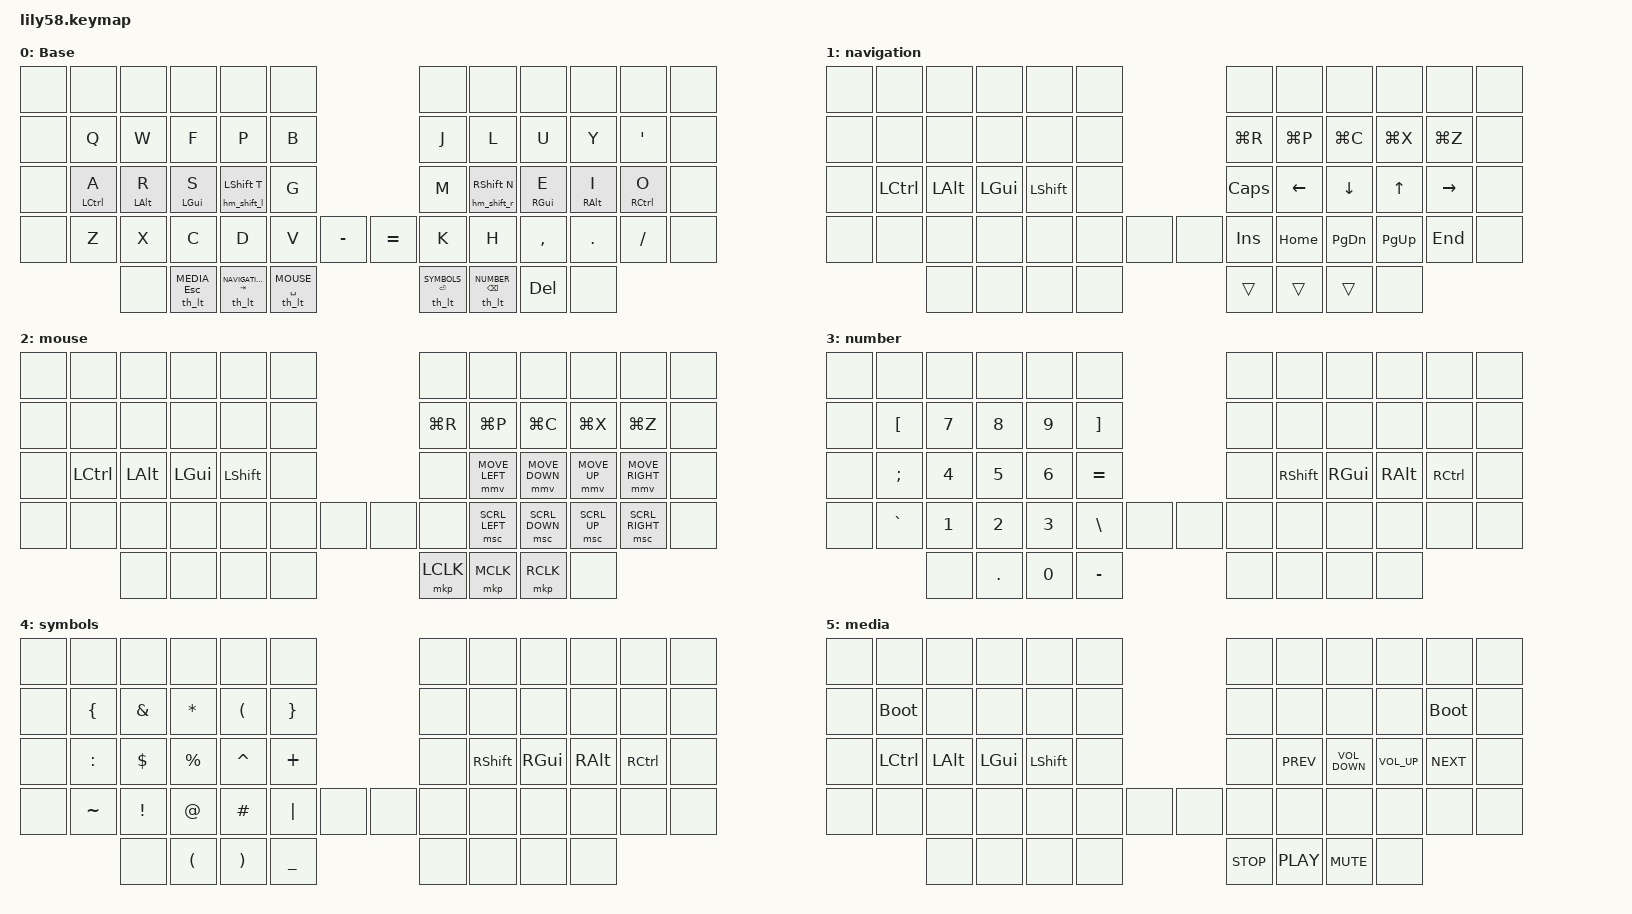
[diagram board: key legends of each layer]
/*
 * Copyright (c) 2020 The ZMK Contributors
 *
 * SPDX-License-Identifier: MIT
 */

#include <behaviors.dtsi>

#include <dt-bindings/zmk/keys.h>

#define ZMK_POINTING_DEFAULT_MOVE_VAL 2000
#define ZMK_POINTING_DEFAULT_SCRL_VAL 60

#include <dt-bindings/zmk/mouse.h>
#include <dt-bindings/zmk/pointing.h>

#include "zmk-helpers/helper.h"
#include "zmk-helpers/key-labels/lily58.h"

/*                                      58 KEY MATRIX / LAYOUT MAPPING
  ╭────────────────────────────┬────────────────────────────╮ ╭─────────────────────────────┬─────────────────────────────╮
  │  0   1   2   3   4   5     │      6   7   8   9  10  11 │ │ LT5 LT4 LT3 LT2 LT1 LT0     │     RT0 RT1 RT2 RT3 RT4 RT5 │
  │ 12  13  14  15  16  17     │     18  19  20  21  22  23 │ │ LM5 LM4 LM3 LM2 LM1 LM0     │     RM0 RM1 RM2 RM3 RM4 RM5 │
  │ 24  25  26  27  28  29     │     30  31  32  33  34  35 │ │ LB5 LB4 LB3 LB2 LB1 LB0     │     RB0 RB1 RB2 RB3 RB4 RB5 │
  │ 36  37  38  39  40  41  42 │ 43  44  45  46  47  48  49 │ │ LF5 LF4 LF3 LF2 LF1 LF0 LEC │ REC RF0 RF1 RF2 RF3 RF4 RF5 │
  ╰───────────╮ 50  51  52  53 │ 54  55  56  57 ╭───────────╯ ╰───────────╮ LH3 LH2 LH1 LH0 │ RH0 RH1 RH2 RH3 ╭───────────╯
              ╰────────────────┴────────────────╯                         ╰─────────────────┴─────────────────╯             */

#define KEYS_L LT0 LT1 LT2 LT3 LT4 LT5 LM0 LM1 LM2 LM3 LM4 LM5 LB0 LB1 LB2 LB3 LB4 LB5 LF0 LF1 LF2 LF3 LF4 LF5 LEC
#define KEYS_R RT0 RT1 RT2 RT3 RT4 RT5 RM0 RM1 RM2 RM3 RM4 RM5 RB0 RB1 RB2 RB3 RB4 RB5 RF0 RF1 RF2 RF3 RF4 RF5 REC
#define KEYS_T LH3 LH2 LH1 LH0 RH0 RH1 RH2 RH3

#define CAPS_COMBO_KEYS LB1 RB1

#define DEFAULT    0
#define NAVIGATION 1
#define MOUSE      2
#define NUMBER     3
#define SYMBOLS    4
#define MEDIA      5

#include "includes/settings.dtsi"
#include "includes/behaviours_mods.dtsi"
#include "includes/combos.dtsi"

/ {
    keymap {
        compatible = "zmk,keymap";

        base {
            display-name = "Base";
            bindings = <
// ╭────────────────────────┬────────────────────────┬────────────────────────┬────────────────────────┬────────────────────────┬────────────────────────╮                                                           ╭────────────────────────┬────────────────────────┬────────────────────────┬───────────────────────┬────────────────────────┬────────────────────────╮
     &none                    &none                    &none                    &none                    &none                    &none                                                                                &none                    &none                    &none                    &none                   &none                    &none
// │────────────────────────┼────────────────────────┼────────────────────────┼────────────────────────┼────────────────────────┼────────────────────────│                                                           │────────────────────────┼────────────────────────┼────────────────────────┼───────────────────────┼────────────────────────┼────────────────────────│
     &none                    &kp Q                    &kp W                    &kp F                    &kp P                    &kp B                                                                                &kp J                    &kp L                    &kp U                    &kp Y                   &kp SQT                  &none
// │────────────────────────┼────────────────────────┼────────────────────────┼────────────────────────┼────────────────────────┼────────────────────────│                                                           │────────────────────────┼────────────────────────┼────────────────────────┼───────────────────────┼────────────────────────┼────────────────────────│
     &none                    &hm_l LCTRL A            &hm_l LALT R             &hm_l LGUI S             &hm_shift_l LSHIFT T     &kp G                                                                                &kp M                    &hm_shift_r RSHIFT N     &hm_r RGUI E             &hm_r RALT I            &hm_r RCTRL O            &none
// │────────────────────────┼────────────────────────┼────────────────────────┼────────────────────────┼────────────────────────┼────────────────────────│────────────────────────╮         ╭────────────────────────│────────────────────────┼────────────────────────┼────────────────────────┼───────────────────────┼────────────────────────┼────────────────────────│
     &none                    &kp Z                    &kp X                    &kp C                    &kp D                    &kp V                    &kp MINUS                          &kp EQUAL                &kp K                    &kp H                    &kp COMMA                &kp DOT                 &kp FSLH                 &none
// ╰────────────────────────┴────────────────────────┼────────────────────────┼────────────────────────┼────────────────────────┼────────────────────────┤────────────────────────╯         ╰────────────────────────├────────────────────────┼────────────────────────┼────────────────────────┼───────────────────────┼────────────────────────┴────────────────────────╯
                                                       &none                    &th_lt MEDIA ESC         &th_lt NAVIGATION TAB    &th_lt MOUSE SPACE                                                                   &th_lt SYMBOLS RET       &th_lt NUMBER BSPC       &kp DEL                  &none
//                                                   ╰────────────────────────┴────────────────────────┴────────────────────────┴────────────────────────╯                                                           ╰────────────────────────┴────────────────────────┴────────────────────────┴───────────────────────╯
            >;
        };

        navigation {
            bindings = <
// ╭────────────────────────┬────────────────────────┬────────────────────────┬────────────────────────┬────────────────────────┬────────────────────────╮                                                           ╭────────────────────────┬────────────────────────┬────────────────────────┬───────────────────────┬────────────────────────┬────────────────────────╮
     &none                    &none                    &none                    &none                    &none                    &none                                                                                &none                    &none                    &none                    &none                   &none                    &none
// │────────────────────────┼────────────────────────┼────────────────────────┼────────────────────────┼────────────────────────┼────────────────────────│                                                           │────────────────────────┼────────────────────────┼────────────────────────┼───────────────────────┼────────────────────────┼────────────────────────│
     &none                    &none                    &none                    &none                    &none                    &none                                                                                &kp LG(R)                &kp LG(P)                &kp LG(C)                &kp LG(X)               &kp LG(Z)                &none
// │────────────────────────┼────────────────────────┼────────────────────────┼────────────────────────┼────────────────────────┼────────────────────────│                                                           │────────────────────────┼────────────────────────┼────────────────────────┼───────────────────────┼────────────────────────┼────────────────────────│
     &none                    &kp LCTRL                &kp LALT                 &kp LGUI                 &kp LSHIFT               &none                                                                                &kp CAPS                 &kp LEFT                 &kp DOWN                 &kp UP                  &kp RIGHT                &none
// │────────────────────────┼────────────────────────┼────────────────────────┼────────────────────────┼────────────────────────┼────────────────────────│────────────────────────╮         ╭────────────────────────│────────────────────────┼────────────────────────┼────────────────────────┼───────────────────────┼────────────────────────┼────────────────────────│
     &none                    &none                    &none                    &none                    &none                    &none                    &none                              &none                    &kp INS                  &kp HOME                 &kp PAGE_DOWN            &kp PAGE_UP             &kp END                  &none
// ╰────────────────────────┴────────────────────────┼────────────────────────┼────────────────────────┼────────────────────────┼────────────────────────┤────────────────────────╯         ╰────────────────────────├────────────────────────┼────────────────────────┼────────────────────────┼───────────────────────┼────────────────────────┴────────────────────────╯
                                                       &none                    &none                    &none                    &none                                                                                &trans                   &trans                   &trans                   &none
//                                                   ╰────────────────────────┴────────────────────────┴────────────────────────┴────────────────────────╯                                                           ╰────────────────────────┴────────────────────────┴────────────────────────┴───────────────────────╯
            >;
        };

        mouse {
            bindings = <
// ╭────────────────────────┬────────────────────────┬────────────────────────┬────────────────────────┬────────────────────────┬────────────────────────╮                                                           ╭────────────────────────┬────────────────────────┬────────────────────────┬───────────────────────┬────────────────────────┬────────────────────────╮
     &none                    &none                    &none                    &none                    &none                    &none                                                                                &none                    &none                    &none                    &none                   &none                    &none
// │────────────────────────┼────────────────────────┼────────────────────────┼────────────────────────┼────────────────────────┼────────────────────────│                                                           │────────────────────────┼────────────────────────┼────────────────────────┼───────────────────────┼────────────────────────┼────────────────────────│
     &none                    &none                    &none                    &none                    &none                    &none                                                                                &kp LG(R)                &kp LG(P)                &kp LG(C)                &kp LG(X)               &kp LG(Z)                &none
// │────────────────────────┼────────────────────────┼────────────────────────┼────────────────────────┼────────────────────────┼────────────────────────│                                                           │────────────────────────┼────────────────────────┼────────────────────────┼───────────────────────┼────────────────────────┼────────────────────────│
     &none                    &kp LCTRL                &kp LALT                 &kp LGUI                 &kp LSHIFT               &none                                                                                &none                    &mmv MOVE_LEFT           &mmv MOVE_DOWN           &mmv MOVE_UP            &mmv MOVE_RIGHT          &none
// │────────────────────────┼────────────────────────┼────────────────────────┼────────────────────────┼────────────────────────┼────────────────────────│────────────────────────╮         ╭────────────────────────│────────────────────────┼────────────────────────┼────────────────────────┼───────────────────────┼────────────────────────┼────────────────────────│
     &none                    &none                    &none                    &none                    &none                    &none                    &none                              &none                    &none                    &msc SCRL_LEFT           &msc SCRL_DOWN           &msc SCRL_UP            &msc SCRL_RIGHT          &none
// ╰────────────────────────┴────────────────────────┼────────────────────────┼────────────────────────┼────────────────────────┼────────────────────────┤────────────────────────╯         ╰────────────────────────├────────────────────────┼────────────────────────┼────────────────────────┼───────────────────────┼────────────────────────┴────────────────────────╯
                                                       &none                    &none                    &none                    &none                                                                                &mkp LCLK                &mkp MCLK                &mkp RCLK                &none
//                                                   ╰────────────────────────┴────────────────────────┴────────────────────────┴────────────────────────╯                                                           ╰────────────────────────┴────────────────────────┴────────────────────────┴───────────────────────╯
            >;
        };

        number {
            bindings = <
// ╭────────────────────────┬────────────────────────┬────────────────────────┬────────────────────────┬────────────────────────┬────────────────────────╮                                                           ╭────────────────────────┬────────────────────────┬────────────────────────┬───────────────────────┬────────────────────────┬────────────────────────╮
     &none                    &none                    &none                    &none                    &none                    &none                                                                                &none                    &none                    &none                    &none                   &none                    &none
// │────────────────────────┼────────────────────────┼────────────────────────┼────────────────────────┼────────────────────────┼────────────────────────│                                                           │────────────────────────┼────────────────────────┼────────────────────────┼───────────────────────┼────────────────────────┼────────────────────────│
     &none                    &kp LBKT                 &kp N7                   &kp N8                   &kp N9                   &kp RBKT                                                                             &none                    &none                    &none                    &none                   &none                    &none
// │────────────────────────┼────────────────────────┼────────────────────────┼────────────────────────┼────────────────────────┼────────────────────────│                                                           │────────────────────────┼────────────────────────┼────────────────────────┼───────────────────────┼────────────────────────┼────────────────────────│
     &none                    &kp SEMI                 &kp N4                   &kp N5                   &kp N6                   &kp EQUAL                                                                            &none                    &kp RSHIFT               &kp RGUI                 &kp RALT                &kp RCTRL                &none
// │────────────────────────┼────────────────────────┼────────────────────────┼────────────────────────┼────────────────────────┼────────────────────────│────────────────────────╮         ╭────────────────────────│────────────────────────┼────────────────────────┼────────────────────────┼───────────────────────┼────────────────────────┼────────────────────────│
     &none                    &kp GRAVE                &kp N1                   &kp N2                   &kp N3                   &kp BSLH                 &none                              &none                    &none                    &none                    &none                    &none                   &none                    &none
// ╰────────────────────────┴────────────────────────┼────────────────────────┼────────────────────────┼────────────────────────┼────────────────────────┤────────────────────────╯         ╰────────────────────────├────────────────────────┼────────────────────────┼────────────────────────┼───────────────────────┼────────────────────────┴────────────────────────╯
                                                       &none                    &kp DOT                  &kp N0                   &kp MINUS                                                                            &none                    &none                    &none                    &none
//                                                   ╰────────────────────────┴────────────────────────┴────────────────────────┴────────────────────────╯                                                           ╰────────────────────────┴────────────────────────┴────────────────────────┴───────────────────────╯
            >;
        };

        symbols {
            bindings = <
// ╭────────────────────────┬────────────────────────┬────────────────────────┬────────────────────────┬────────────────────────┬────────────────────────╮                                                           ╭────────────────────────┬────────────────────────┬────────────────────────┬───────────────────────┬────────────────────────┬────────────────────────╮
     &none                    &none                    &none                    &none                    &none                    &none                                                                                &none                    &none                    &none                    &none                   &none                    &none
// │────────────────────────┼────────────────────────┼────────────────────────┼────────────────────────┼────────────────────────┼────────────────────────│                                                           │────────────────────────┼────────────────────────┼────────────────────────┼───────────────────────┼────────────────────────┼────────────────────────│
     &none                    &kp LBRC                 &kp AMPERSAND            &kp STAR                 &kp LPAR                 &kp RBRC                                                                             &none                    &none                    &none                    &none                   &none                    &none
// │────────────────────────┼────────────────────────┼────────────────────────┼────────────────────────┼────────────────────────┼────────────────────────│                                                           │────────────────────────┼────────────────────────┼────────────────────────┼───────────────────────┼────────────────────────┼────────────────────────│
     &none                    &kp COLON                &kp DOLLAR               &kp PERCENT              &kp CARET                &kp PLUS                                                                             &none                    &kp RSHIFT               &kp RGUI                 &kp RALT                &kp RCTRL                &none
// │────────────────────────┼────────────────────────┼────────────────────────┼────────────────────────┼────────────────────────┼────────────────────────│────────────────────────╮         ╭────────────────────────│────────────────────────┼────────────────────────┼────────────────────────┼───────────────────────┼────────────────────────┼────────────────────────│
     &none                    &kp TILDE                &kp EXCLAMATION          &kp AT                   &kp HASH                 &kp PIPE                 &none                              &none                    &none                    &none                    &none                    &none                   &none                    &none
// ╰────────────────────────┴────────────────────────┼────────────────────────┼────────────────────────┼────────────────────────┼────────────────────────┤────────────────────────╯         ╰────────────────────────├────────────────────────┼────────────────────────┼────────────────────────┼───────────────────────┼────────────────────────┴────────────────────────╯
                                                       &none                    &kp LPAR                 &kp RPAR                 &kp UNDERSCORE                                                                       &none                    &none                    &none                    &none
//                                                   ╰────────────────────────┴────────────────────────┴────────────────────────┴────────────────────────╯                                                           ╰────────────────────────┴────────────────────────┴────────────────────────┴───────────────────────╯
            >;
        };

        media {
            bindings = <
// ╭────────────────────────┬────────────────────────┬────────────────────────┬────────────────────────┬────────────────────────┬────────────────────────╮                                                           ╭────────────────────────┬────────────────────────┬────────────────────────┬───────────────────────┬────────────────────────┬────────────────────────╮
     &none                    &none                    &none                    &none                    &none                    &none                                                                                &none                    &none                    &none                    &none                   &none                    &none
// │────────────────────────┼────────────────────────┼────────────────────────┼────────────────────────┼────────────────────────┼────────────────────────│                                                           │────────────────────────┼────────────────────────┼────────────────────────┼───────────────────────┼────────────────────────┼────────────────────────│
     &none                    &bootloader              &none                    &none                    &none                    &none                                                                                &none                    &none                    &none                    &none                   &bootloader              &none
// │────────────────────────┼────────────────────────┼────────────────────────┼────────────────────────┼────────────────────────┼────────────────────────│                                                           │────────────────────────┼────────────────────────┼────────────────────────┼───────────────────────┼────────────────────────┼────────────────────────│
     &none                    &kp LCTRL                &kp LALT                 &kp LGUI                 &kp LSHIFT               &none                                                                                &none                    &kp C_PREV               &kp C_VOLUME_DOWN        &kp C_VOLUME_UP         &kp C_NEXT               &none
// │────────────────────────┼────────────────────────┼────────────────────────┼────────────────────────┼────────────────────────┼────────────────────────│────────────────────────╮         ╭────────────────────────│────────────────────────┼────────────────────────┼────────────────────────┼───────────────────────┼────────────────────────┼────────────────────────│
     &none                    &none                    &none                    &none                    &none                    &none                    &none                              &none                    &none                    &none                    &none                    &none                   &none                    &none
// ╰────────────────────────┴────────────────────────┼────────────────────────┼────────────────────────┼────────────────────────┼────────────────────────┤────────────────────────╯         ╰────────────────────────├────────────────────────┼────────────────────────┼────────────────────────┼───────────────────────┼────────────────────────┴────────────────────────╯
                                                       &none                    &none                    &none                    &none                                                                                &kp C_STOP               &kp C_PLAY               &kp C_MUTE               &none
//                                                   ╰────────────────────────┴────────────────────────┴────────────────────────┴────────────────────────╯                                                           ╰────────────────────────┴────────────────────────┴────────────────────────┴───────────────────────╯
            >;
        };
    };
};
